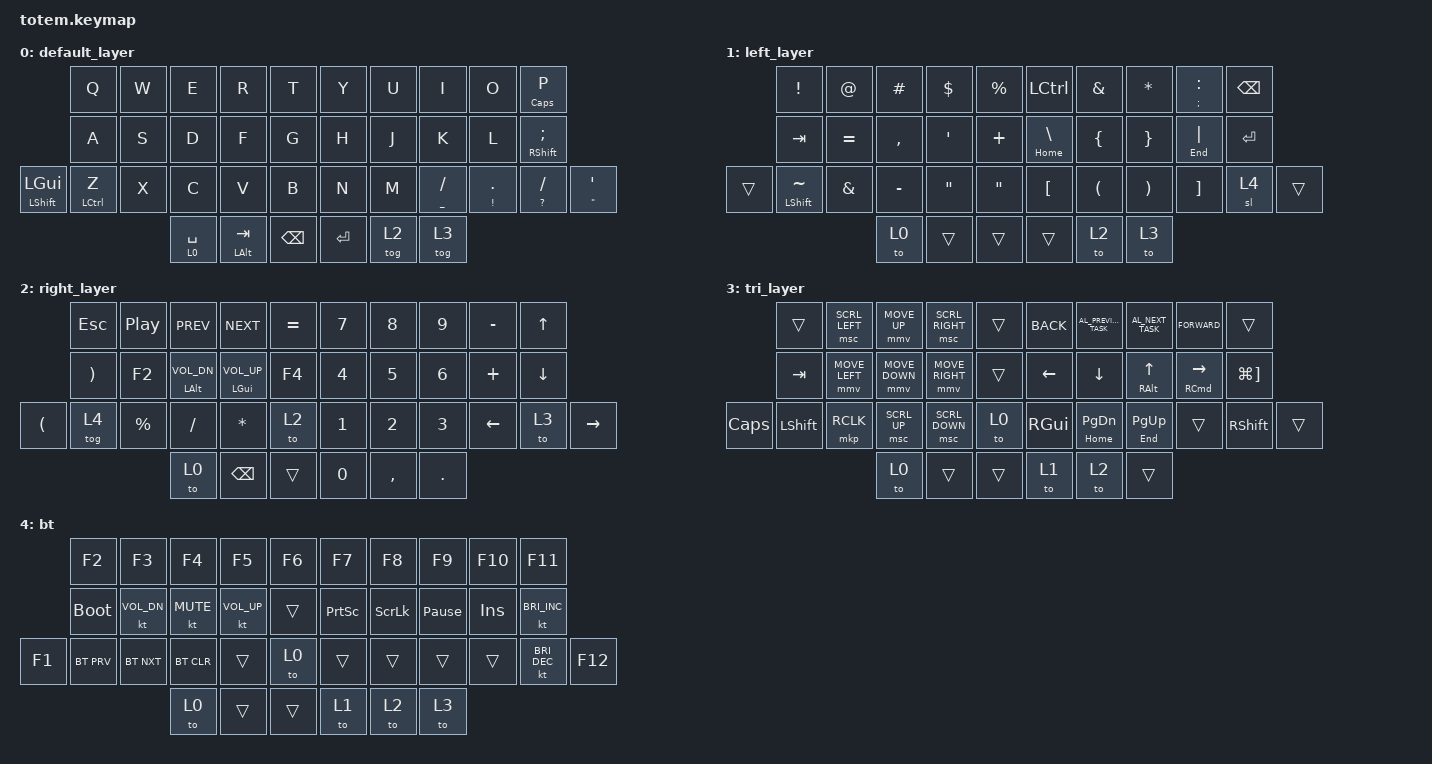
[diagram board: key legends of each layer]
/*
 * Copyright (c) 2020 The ZMK Contributors
 *
 * SPDX-License-Identifier: MIT
 */ 
 
#include <dt-bindings/zmk/mouse.h>
#include <behaviors.dtsi>
#include <dt-bindings/zmk/bt.h>
#include <dt-bindings/zmk/keys.h>
#include <dt-bindings/zmk/pointing.h>
#include <dt-bindings/zmk/ext_power.h>

&mt {
    flavor = "tap-preferred";
    tapping_term_ms = <200>;
};

/ {
    combos {
        compatible = "zmk,combos";

        combo_esc {
            timeout-ms = <50>;
            key-positions = <21 22>;
            bindings = <&kp ESC>;
        };

        combo_3 {
            timeout-ms = <50>;
            key-positions = <7 8>;
            bindings = <&kp BACKSPACE>;
        };

        combo_ent {
            timeout-ms = <50>;
            key-positions = <28 29>;
            bindings = <&kp RET>;
        };

        combo_1 {
            timeout-ms = <50>;
            key-positions = <33 36>;
            bindings = <&to 2>;
        };

        combo_left {
            timeout-ms = <50>;
            key-positions = <0 1>;
            bindings = <&kp TAB>;
            layers = <3>;
        };

        combo_lclk {
            timeout-ms = <50>;
            key-positions = <26 27>;
            bindings = <&mkp LCLK>;
            layers = <3>;
        };

        combo_0 {
            bindings = <&to 0>;
            key-positions = <32 37>;
        };
    };

    behaviors {
        hm: homerow_mods {
            compatible = "zmk,behavior-hold-tap";
            label = "HOMEROW_MODS";
            #binding-cells = <2>;
            tapping-term-ms = <200>;
            quick_tap_ms = <0>;
            flavor = "tap-preferred";
            bindings = <&kp>, <&kp>;
        };

        hs: homerow_shifts {
            compatible = "zmk,behavior-hold-tap";
            label = "HOMEROW_SHIFTS";
            #binding-cells = <2>;
            tapping-term-ms = <150>;
            quick_tap_ms = <0>;
            flavor = "balanced";
            bindings = <&kp>, <&kp>;
        };

        hsl: homerow_shifts_layer {
            compatible = "zmk,behavior-hold-tap";
            label = "HOMEROW_SHIFTS_LAYER";
            #binding-cells = <2>;
            tapping-term-ms = <150>;
            quick_tap_ms = <0>;
            flavor = "balanced";
            bindings = <&kp>, <&to>;
        };

        td: tapdance {
            compatible = "zmk,behavior-hold-tap";
            label = "TAPDANCE";
            #binding-cells = <2>;
            tapping-term-ms = <150>;
            quick_tap_ms = <0>;
            flavor = "tap-preferred";
            bindings = <&kp>, <&kp>;
        };

        bl: layertap {
            compatible = "zmk,behavior-hold-tap";
            label = "LAYERTAP";
            #binding-cells = <2>;
            tapping-term-ms = <150>;
            quick_tap_ms = <0>;
            flavor = "tap-preferred";
            bindings = <&to>, <&kp>;
        };
    };

    keymap {
        compatible = "zmk,keymap";

        default_layer {
            bindings = <
                         &kp Q        &kp W  &kp E        &kp R             &kp T            &kp Y      &kp U   &kp I                 &kp O                   &mt CAPS P
                         &kp A        &kp S  &kp D        &kp F             &kp G            &kp H      &kp J   &kp K                 &kp L                   &hs RIGHT_SHIFT SEMICOLON
&hs LEFT_SHIFT LEFT_GUI  &hs LCTRL Z  &kp X  &kp C        &kp V             &kp B            &kp N      &kp M   &hs UNDERSCORE SLASH  &hs EXCLAMATION PERIOD  &hs QUESTION SLASH         &hs DOUBLE_QUOTES SQT
                                             &lt 0 SPACE  &hs LEFT_ALT TAB  &kp BACKSPACE    &kp ENTER  &tog 2  &tog 3
            >;
        };

        left_layer {
            bindings = <
        &kp EXCLAMATION   &kp AT_SIGN    &kp HASH   &kp DLLR  &kp PERCENT          &kp LCTRL           &kp AMPERSAND         &kp ASTERISK           &hm SEMICOLON COLON  &kp BACKSPACE
        &kp TAB           &kp EQUAL      &kp COMMA  &kp SQT   &kp PLUS             &hm HOME BACKSLASH  &kp LEFT_BRACE        &kp RIGHT_BRACE        &hm END PIPE         &kp ENTER
&trans  &hs LSHIFT TILDE  &kp AMPERSAND  &kp MINUS  &kp DQT   &kp DOUBLE_QUOTES    &kp LEFT_BRACKET    &kp LEFT_PARENTHESIS  &kp RIGHT_PARENTHESIS  &kp RBKT             &sl 4          &trans
                                         &to 0      &trans    &trans               &trans              &to 2                 &to 3
            >;
        };

        right_layer {
            bindings = <
                      &kp ESCAPE             &kp C_PP   &kp C_PREV         &kp C_NEXT         &kp EQUAL    &kp NUMBER_7  &kp NUMBER_8  &kp NUMBER_9  &kp MINUS  &kp UP_ARROW
                      &kp RIGHT_PARENTHESIS  &kp F2     &hm LALT C_VOL_DN  &hm LGUI C_VOL_UP  &kp F4       &kp NUMBER_4  &kp NUMBER_5  &kp NUMBER_6  &kp PLUS   &kp DOWN_ARROW
&kp LEFT_PARENTHESIS  &tog 4                 &kp PRCNT  &kp SLASH          &kp STAR           &to 2        &kp NUMBER_1  &kp NUMBER_2  &kp NUMBER_3  &kp LEFT   &to 3           &kp RIGHT
                                                        &to 0              &kp BACKSPACE      &trans       &kp NUMBER_0  &kp COMMA     &kp PERIOD
            >;
        };

        tri_layer {
            bindings = <
          &trans      &msc SCRL_LEFT  &mmv MOVE_UP    &msc SCRL_RIGHT  &trans    &kp K_BACK  &kp C_AL_PREVIOUS_TASK  &kp C_AL_NEXT_TASK  &kp K_FORWARD            &trans
          &kp TAB     &mmv MOVE_LEFT  &mmv MOVE_DOWN  &mmv MOVE_RIGHT  &trans    &kp LEFT    &kp DOWN                &hm RALT UP         &hm RIGHT_COMMAND RIGHT  &kp LG(RBKT)
&kp CAPS  &kp LSHIFT  &mkp RCLK       &msc SCRL_UP    &msc SCRL_DOWN   &to 0     &kp RGUI    &td HOME PG_DN          &td END PG_UP       &trans                   &kp RSHIFT    &trans
                                      &to 0           &trans           &trans    &to 1       &to 2                   &trans
            >;
        };

        bt {
            bindings = <
        &kp F2       &kp F3        &kp F4      &kp F5        &kp F6    &kp F7           &kp F8          &kp F9           &kp F10     &kp F11
        &bootloader  &kt C_VOL_DN  &kt K_MUTE  &kt C_VOL_UP  &trans    &kp PRINTSCREEN  &kp SCROLLLOCK  &kp PAUSE_BREAK  &kp INSERT  &kt C_BRIGHTNESS_INC
&kp F1  &bt BT_PRV   &bt BT_NXT    &bt BT_CLR  &trans        &to 0     &trans           &trans          &trans           &trans      &kt C_BRIGHTNESS_DEC  &kp F12
                                   &to 0       &trans        &trans    &to 1            &to 2           &to 3
            >;
        };
    };
};
